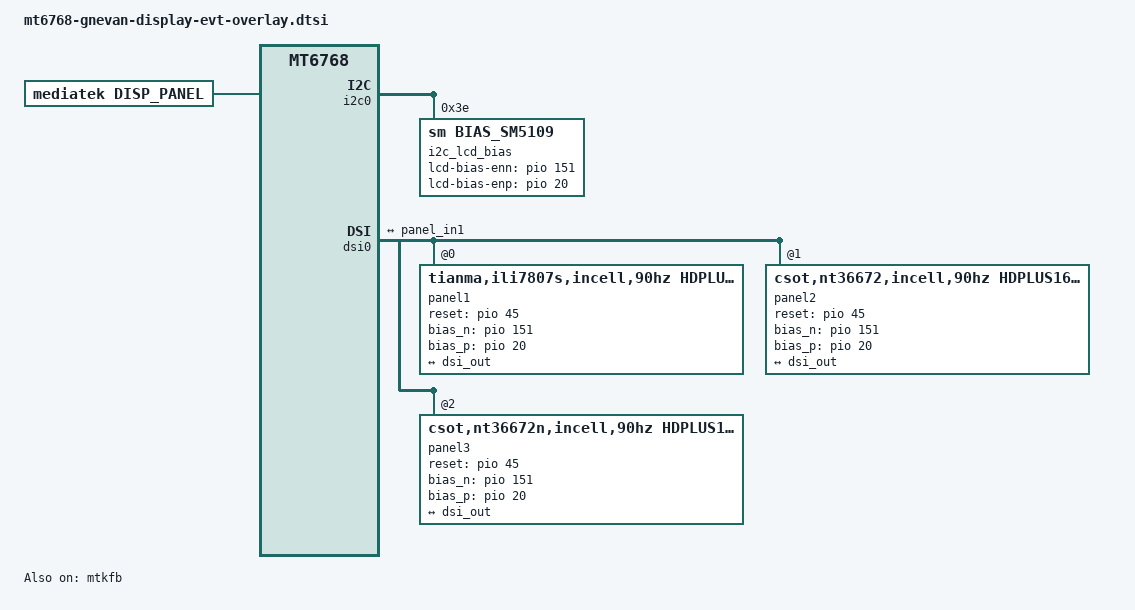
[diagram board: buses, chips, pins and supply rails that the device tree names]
/*
 * Copyright (c) 2022 MediaTek Inc.
 *
 * This program is free software; you can redistribute it and/or modify
 * it under the terms of the GNU General Public License version 2 as
 * published by the Free Software Foundation.
 *
 * This program is distributed in the hope that it will be useful,
 * but WITHOUT ANY WARRANTY; without even the implied warranty of
 * MERCHANTABILITY or FITNESS FOR A PARTICULAR PURPOSE.  See the
 * GNU General Public License for more details.
 */

/* DISPSYS GPIO standardization */
&i2c0 {
	id = <0x0>;

	i2c_lcd_bias@3e {
		compatible = "sm,bias_sm5109";
		reg = <0x3e>;
		sm,lcd-bias-enn-gpio = <&pio 151 0>;
		sm,lcd-bias-enp-gpio = <&pio 20 0>;
		status = "okay";
	};
};
&mtk_leds {
	compatible = "mediatek,disp-leds";
	backlight {
		label = "lcd-backlight";
		led_mode = <4>;
		max-brightness = <1456>;
		max-hw-brightness = <1456>;
		default-brightness = <662>;
	};
};
&dsi0 {
	status = "okay";
	#address-cells = <1>;
	#size-cells = <0>;
	panel1@0 {
		compatible = "tianma,ili7807s,incell,90hz,hdplus1600";
		reg = <0>;
		reset-gpios = <&pio 45 0>;
		bias_n-gpios = <&pio 151 0>;
		bias_p-gpios = <&pio 20 0>;
		pinctrl-names = "default";
		port {
			panel_in1: endpoint {
				remote-endpoint = <&dsi_out>;
			};
		};
	};
	 panel2@0 {
		compatible = "csot,nt36672,incell,90hz,hdplus1600";
		reg = <1>;
		reset-gpios = <&pio 45 0>;
		bias_n-gpios = <&pio 151 0>;
		bias_p-gpios = <&pio 20 0>;
		pinctrl-names = "default";
		port {
				panel_in2: endpoint {
						remote-endpoint = <&dsi_out>;
				};
		};
    };
	 panel3@0 {
		compatible = "csot,nt36672n,incell,90hz,hdplus1600";
		reg = <2>;
		reset-gpios = <&pio 45 0>;
		bias_n-gpios = <&pio 151 0>;
		bias_p-gpios = <&pio 20 0>;
		pinctrl-names = "default";
		port {
				panel_in3: endpoint {
						remote-endpoint = <&dsi_out>;
				};
		};
    };
	ports {
		port {
			dsi_out: endpoint {
				remote-endpoint = <&panel_in1>;
			};
		};
	};
};
&pio {
	mtkfb_pins_lcm_rst_out1_gpio: lcm_rst_out1_gpio {
		pins_cmd_dat {
			pinmux = <PINMUX_GPIO45__FUNC_GPIO45>;
			slew-rate = <1>;
			output-high;
		};
	};

	mtkfb_pins_lcm_rst_out0_gpio: lcm_rst_out0_gpio {
		pins_cmd_dat {
			pinmux = <PINMUX_GPIO45__FUNC_GPIO45>;
			slew-rate = <1>;
			output-low;
		};
	};

	mtkfb_pins_lcd_bias_enp0: lcd_bias_enp0_gpio {
		pins_cmd_dat {
			pinmux = <PINMUX_GPIO20__FUNC_GPIO20>;
			slew-rate = <1>;
			output-low;
		};
	};

	mtkfb_pins_lcd_bias_enp1: lcd_bias_enp1_gpio {
		pins_cmd_dat {
			pinmux = <PINMUX_GPIO20__FUNC_GPIO20>;
			slew-rate = <1>;
			output-high;
		};
	};

	mtkfb_pins_lcd_bias_enn0: lcd_bias_enn0_gpio {
		pins_cmd_dat {
			pinmux = <PINMUX_GPIO151__FUNC_GPIO151>;
			slew-rate = <1>;
			output-low;
		};
	};

	mtkfb_pins_lcd_bias_enn1: lcd_bias_enn1_gpio {
		pins_cmd_dat {
			pinmux = <PINMUX_GPIO151__FUNC_GPIO151>;
			slew-rate = <1>;
			output-high;
		};
	};

	mtkfb_pins_lcm_dsi_te: lcm_dsi_te {
		pins_cmd_dat {
			pinmux = <PINMUX_GPIO44__FUNC_DSI_TE>;
		};
	};

	mtkfb_pins_default: dispdefault {
	};
};

&mtkfb {
	pinctrl-names =
		"lcm_rst_out1_gpio", "lcm_rst_out0_gpio",
		"mode_te_te",
		"lcd_bias_enp0_gpio", "lcd_bias_enp1_gpio",
		"lcd_bias_enn0_gpio", "lcd_bias_enn1_gpio";
	pinctrl-0 = <&mtkfb_pins_lcm_rst_out1_gpio>;
	pinctrl-1 = <&mtkfb_pins_lcm_rst_out0_gpio>;
	pinctrl-2 = <&mtkfb_pins_lcm_dsi_te>;
	pinctrl-3 = <&mtkfb_pins_lcd_bias_enp0>;
	pinctrl-4 = <&mtkfb_pins_lcd_bias_enp1>;
	pinctrl-5 = <&mtkfb_pins_lcd_bias_enn0>;
	pinctrl-6 = <&mtkfb_pins_lcd_bias_enn1>;
	status = "okay";
};

/* DISPSYS GPIO standardization end*/

&odm {
	disp_panel: disp_panel {
		compatible = "mediatek,disp_panel";
		lcm,max-level = <1750>;
		lcm,hbm-vev = <2>;
	};
};

